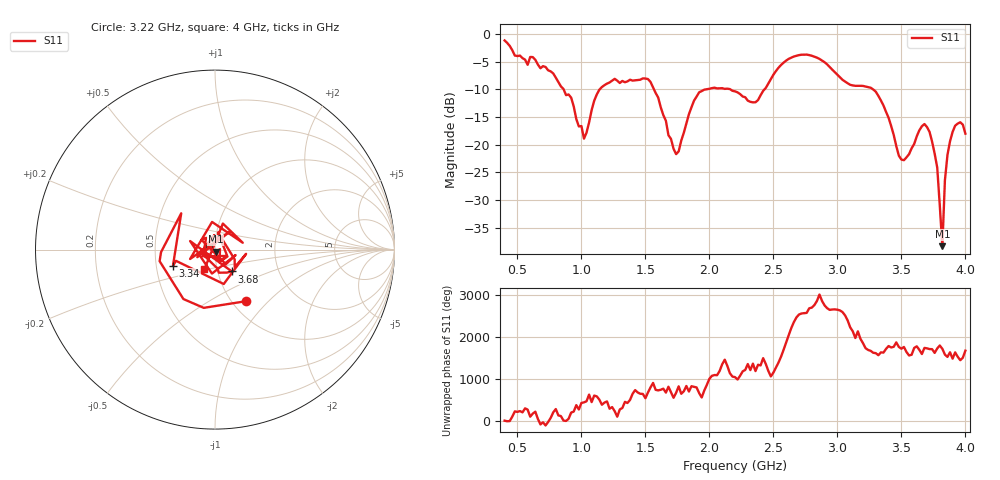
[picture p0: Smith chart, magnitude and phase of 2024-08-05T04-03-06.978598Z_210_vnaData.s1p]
!Created with skrf (http://scikit-rf.org).
# Hz S RI R 50.0
!freq ReS11 ImS11
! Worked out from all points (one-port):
!   181 points, 400 MHz to 4 GHz, reference 50 ohm
!   lowest |S11| = -38.4 dB at 3.82 GHz (marker M1), VSWR 1.02, Z = 50.3 - j1.17 ohm
!   |S11| at or under -10 dB: 861.1 MHz to 1.143 GHz (281.9 MHz wide, 28.1 % of centre); 1.567 GHz to 1.976 GHz (409.4 MHz wide, 23.1 % of centre); 3.278 GHz to end of sweep (the widest 3 of 4)
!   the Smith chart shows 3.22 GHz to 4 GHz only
!   S11 on the Smith chart (normalised r, x): 3.22 GHz: 1.16, -0.75; 3.34 GHz: 0.61, -0.12; 3.68 GHz: 1.17, -0.29; 4 GHz: 0.87, -0.20
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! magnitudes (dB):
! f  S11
! 400 MHz  -1.2
! 860 MHz  -9.9
! 920 MHz  -11.5
! 1.02 GHz  -18.9
! 1.14 GHz  -10.1
! 1.3 GHz  -8.9
! 1.54 GHz  -8.7
! 1.72 GHz  -20.8
! 1.76 GHz  -21.2
! 1.84 GHz  -14.5
! 1.92 GHz  -10.5
! 2.2 GHz  -10.4
! 2.36 GHz  -12.3
! 2.66 GHz  -4.1
! 2.86 GHz  -4.5
! 3.1 GHz  -9.2
! 3.22 GHz  -9.5
! 3.34 GHz  -12.0
! 3.48 GHz  -22.0
! 3.56 GHz  -21.7
! 3.68 GHz  -16.3
! 3.72 GHz  -17.7
! 3.78 GHz  -24.2
! 3.82 GHz  -38.4
! 3.84 GHz  -26.5
! 3.88 GHz  -19.4
! 3.96 GHz  -16.0
! 4 GHz  -18.0
